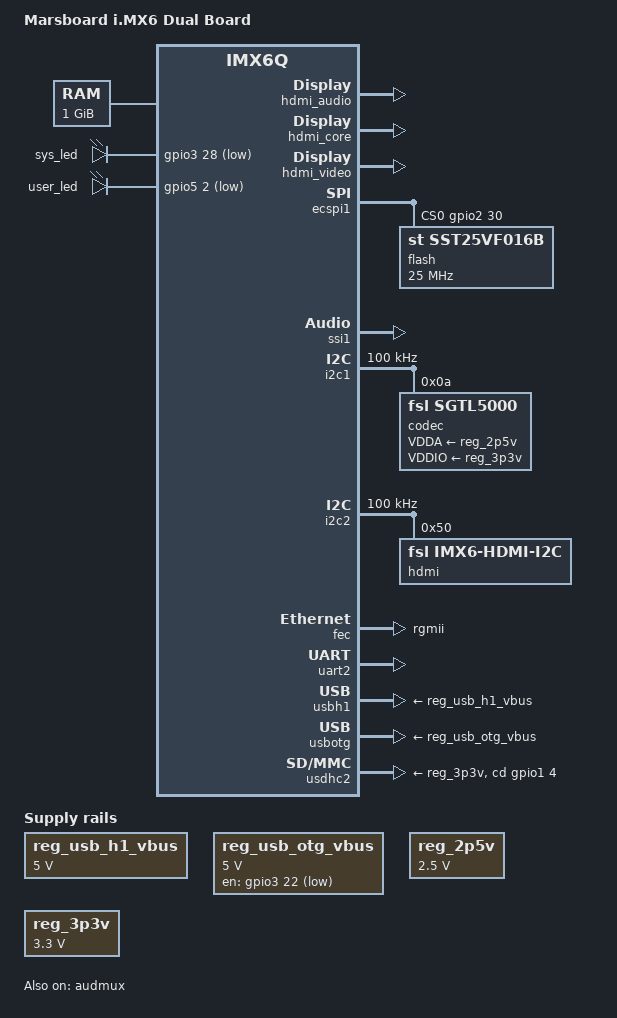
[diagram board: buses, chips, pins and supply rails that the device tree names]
/dts-v1/;
#include "imx6q.dtsi"

/ {
	model = "Marsboard i.MX6 Dual Board";
	compatible = "embest,imx6q-marsboard", "fsl,imx6q";

	aliases {
		mxcfb0 = &mxcfb1;
		mmc0 = &usdhc2; /* Make external SD /dev/mmcblk0 */
	};

	memory {
		reg = <0x10000000 0x40000000>;
	};

	leds {
		compatible = "gpio-leds";

		sys_led {
			gpios = <&gpio3 28 GPIO_ACTIVE_LOW>;
			linux,default-trigger = "heartbeat";
		};

		user_led {
			gpios = <&gpio5 2 GPIO_ACTIVE_LOW>;
		};
	};

	mxcfb1: fb@0 {
		compatible = "fsl,mxc_sdc_fb";
		disp_dev = "hdmi";
		interface_pix_fmt = "RGB24";
		mode_str ="1920x1080M@60";
		default_bpp = <32>;
		int_clk = <0>;
		late_init = <0>;
		status = "okay";
	};

	regulators {
		compatible = "simple-bus";

		reg_usb_h1_vbus: usb_h1_vbus {
			compatible = "regulator-fixed";
			regulator-name = "usb_h1_vbus";
			regulator-min-microvolt = <5000000>;
			regulator-max-microvolt = <5000000>;
			regulator-always-on;
		};

		reg_usb_otg_vbus: usb_otg_vbus {
			compatible = "regulator-fixed";
			regulator-name = "usb_otg_vbus";
			regulator-min-microvolt = <5000000>;
			regulator-max-microvolt = <5000000>;
			gpio = <&gpio3 22 0>;
			/*enable-active-high;*/
		};

		reg_2p5v: 2p5v {
			compatible = "regulator-fixed";
			regulator-name = "2P5V";
			regulator-min-microvolt = <2500000>;
			regulator-max-microvolt = <2500000>;
			regulator-always-on;
		};

		reg_3p3v: 3p3v {
			compatible = "regulator-fixed";
			regulator-name = "3P3V";
			regulator-min-microvolt = <3300000>;
			regulator-max-microvolt = <3300000>;
			regulator-always-on;
		};
	};

	sound {
		compatible = "fsl,imx6q-marsboard-sgtl5000",
			     "fsl,imx-audio-sgtl5000";
		model = "imx6q-marsboard-sgtl5000";
		cpu-dai = <&ssi1>;
		audio-codec = <&codec>;
		audio-routing =
			"MIC_IN", "Mic Jack",
			"Mic Jack", "Mic Bias",
			"Headphone Jack", "HP_OUT";
		mux-int-port = <2>;
		mux-ext-port = <4>;
	};

	sound-hdmi {
		compatible = "fsl,imx6q-audio-hdmi",
		"fsl,imx-audio-hdmi";
		model = "imx-audio-hdmi";
		hdmi-controller = <&hdmi_audio>;
	};
};

&audmux {
	pinctrl-names = "default";
	pinctrl-0 = <&pinctrl_audmux_2>;
	status = "okay";
};

&iomuxc {
	pinctrl-names = "default";
	pinctrl-0 = <&pinctrl_hog>;

	hog {
		pinctrl_hog: hoggrp {
			fsl,pins = <
				/* SDHC2 */
				MX6QDL_PAD_GPIO_4__GPIO1_IO04 0x80000000 /* SD2 CD */
				/* usb otg */
				MX6QDL_PAD_EIM_D22__GPIO3_IO22 0x80000000 /* USB_OTG_PWR_EN */
				/* Ethernet */
				MX6QDL_PAD_EIM_D31__GPIO3_IO31 0x80000000 /* RGMII RST */
				/* gpio-leds */
				MX6QDL_PAD_EIM_D28__GPIO3_IO28 0x80000000 /* User LED D25 */
				MX6QDL_PAD_EIM_A25__GPIO5_IO02 0x80000000 /* User LED D24 */
			>;
		};
	};
};

&hdmi_audio {
	status = "okay";
};

&hdmi_core {
	ipu_id = <0>;
	disp_id = <0>;
	status = "okay";
};

&hdmi_video {
	status = "okay";
};

&ecspi1 {
	fsl,spi-num-chipselects = <1>;
	cs-gpios = <&gpio2 30 0>;
	pinctrl-names = "default";
	pinctrl-0 = <&pinctrl_ecspi1_1>;

	/* NOR-flash */
	flash: m25p80@0 {
		#address-cells = <1>;
		#size-cells = <1>;
		compatible = "st,sst25vf016b";
		spi-max-frequency = <25000000>;
		reg = <0>; /* CS0 */
	};
};

&ssi1 {
	fsl,mode = "i2s-slave";
	status = "okay";
};

&i2c1 {
	clock-frequency = <100000>;
	pinctrl-names = "default";
	pinctrl-0 = <&pinctrl_i2c1_2>;
	status = "okay";

	codec: sgtl5000@0a {
		compatible = "fsl,sgtl5000";
		reg = <0x0a>;
		clocks = <&clks 201>;
		VDDA-supply = <&reg_2p5v>;
		VDDIO-supply = <&reg_3p3v>;
	};
};

&i2c2 {
	clock-frequency = <100000>;
	pinctrl-names = "default";
	pinctrl-0 = <&pinctrl_i2c2_2>;
	status = "okay";

	hdmi: edid@50 {
		compatible = "fsl,imx6-hdmi-i2c";
		reg = <0x50>;
	};
};

&fec {
	pinctrl-names = "default";
	pinctrl-0 = <&pinctrl_enet_1>;
	phy-mode = "rgmii";
	/*phy-reset-gpios = <&gpio3 31 0 GPIO_ACTIVE_HIGH>;*/
	status = "okay";
};

&uart2 {
	pinctrl-names = "default";
	pinctrl-0 = <&pinctrl_uart2_1>;
	status = "okay";
};

&usbh1 {
	vbus-supply = <&reg_usb_h1_vbus>;
	status = "okay";
};

&usbotg {
	pinctrl-names = "default";
	pinctrl-0 = <&pinctrl_usbotg_2>;
	vbus-supply = <&reg_usb_otg_vbus>;
	status = "okay";
};

&usdhc2 {
	pinctrl-names = "default";
	pinctrl-0 = <&pinctrl_usdhc2_2>;
	cd-gpios = <&gpio1 4 0>;
	vmmc-supply = <&reg_3p3v>;
	status = "okay";
};

/* Disable crypto */

&caam_sm {
	status = "disabled";
};

&irq_sec_vio {
	status = "disabled";
};

&caam_snvs {
	status = "disabled";
};

&crypto {
	status = "disabled";
};
